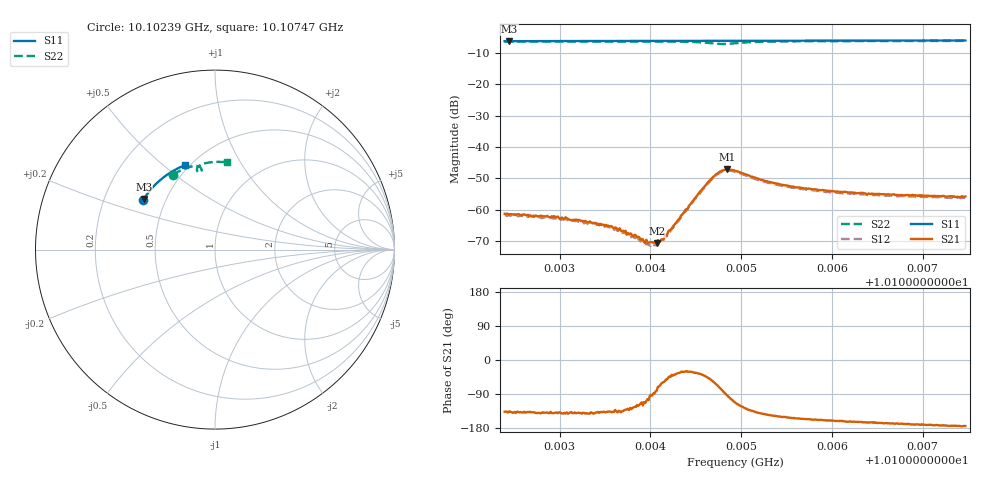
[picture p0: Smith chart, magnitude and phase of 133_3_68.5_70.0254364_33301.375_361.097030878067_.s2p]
#  HZ  S  RI  R  50.00
! Rohde & Schwarz Vector Network Analyzer
! Rohde-Schwarz,ZNB20-2Port,1311601062101988,3.16
! Created: UTC 3/20/2024, 4:54:34 PM
! freq[Hz]  re:S11  im:S11  re:S21  im:S21  re:S12  im:S12  re:S22  im:S22
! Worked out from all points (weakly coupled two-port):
!   401 points, 10.10239 GHz to 10.10747 GHz, reference 50 ohm
!   highest |S21| = -47.14 dB at 10.10484 GHz (marker M1); lowest = -70.7 dB at 10.10407 GHz (marker M2)
!   lowest |S11| = -6.3 dB at 10.10244 GHz (marker M3), VSWR 2.89, Z = 18.8 + j13.9 ohm
!   |S11| at or under -10 dB: nowhere
!   |S22| runs from -7.2 to -6.2 dB; largest |S21 - S12| = 0.00045
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1.0102392e10  -0.3986 0.279  -0.000626 -0.000594  -0.000551 -0.000601  -0.2334 0.4182
1.0102443e10  -0.3968 0.2815  -0.000595 -0.000578  -0.000562 -0.000603  -0.2304 0.4199
1.0102964e10  -0.3791 0.3078  -0.000563 -0.000502  -0.000526 -0.000506  -0.2002 0.4367
1.0103243e10  -0.3686 0.3213  -0.00052 -0.00041  -0.000431 -0.000467  -0.1834 0.4448
1.0103535e10  -0.3573 0.3349  -0.000406 -0.000384  -0.000365 -0.000391  -0.1649 0.4524
1.0103853e10  -0.3444 0.3493  -0.000175 -0.000317  -0.000172 -0.000327  -0.1434 0.4599
1.0103954e10  -0.3403 0.354  -0.000107 -0.000315  -6.63e-05 -0.000273  -0.1361 0.4619
1.010398e10  -0.3392 0.3549  -8.18e-05 -0.000287  -2.02e-05 -0.000274  -0.1342 0.4623
1.0104069e10  -0.3355 0.3589  4.36e-05 -0.00029  7.01e-05 -0.000267  -0.1275 0.4639
1.0104094e10  -0.3344 0.36  0.000106 -0.000293  0.000142 -0.000273  -0.1256 0.4642
1.0104158e10  -0.3318 0.3627  0.000212 -0.000317  0.00023 -0.000295  -0.1204 0.465
1.0104501e10  -0.3166 0.3772  0.00132 -0.000879  0.00134 -0.000729  -0.0883 0.4622
1.0104666e10  -0.309 0.3837  0.00189 -0.00241  0.00199 -0.00215  -0.075 0.4463
1.0104755e10  -0.305 0.3871  0.00127 -0.00373  0.00156 -0.00346  -0.0789 0.4339
1.0104844e10  -0.301 0.3906  -0.000239 -0.00439  0.00017 -0.0042  -0.0918 0.431
1.0104932e10  -0.297 0.3939  -0.00155 -0.00388  -0.00117 -0.00386  -0.1002 0.4402
1.0105352e10  -0.2771 0.4097  -0.00224 -0.00147  -0.002 -0.00159  -0.0763 0.4737
1.010558e10  -0.2658 0.4179  -0.00206 -0.00106  -0.0019 -0.00116  -0.0592 0.4799
1.0105783e10  -0.2554 0.4248  -0.00195 -0.000818  -0.00182 -0.000955  -0.0446 0.4832
1.0106101e10  -0.2392 0.435  -0.00183 -0.000632  -0.00168 -0.00075  -0.0224 0.4866
1.0106634e10  -0.211 0.4507  -0.0017 -0.000393  -0.00158 -0.000521  0.0133 0.4889
1.0107473e10  -0.1648 0.4715  -0.00162 -0.000165  -0.00152 -0.000307  0.068 0.4867
